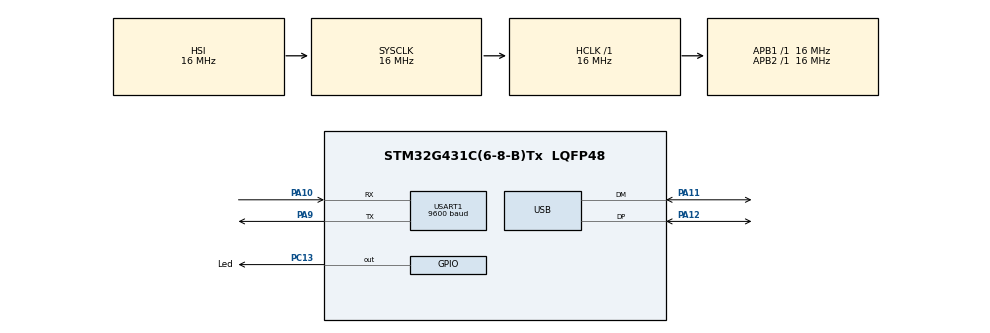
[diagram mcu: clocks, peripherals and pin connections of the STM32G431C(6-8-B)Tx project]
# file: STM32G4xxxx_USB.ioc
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Mcu.Family=STM32G4
Mcu.Name=STM32G431C(6-8-B)Tx
Mcu.Package=LQFP48
NVIC.PriorityGroup=NVIC_PRIORITYGROUP_4
NVIC.USB_LP_IRQn=true\:0\:0\:false\:false\:true\:false\:true\:true
PA10.Mode=Asynchronous
PA10.Signal=USART1_RX
PA11.Mode=Device
PA11.Signal=USB_DM
PA12.Mode=Device
PA12.Signal=USB_DP
PA9.Mode=Asynchronous
PA9.Signal=USART1_TX
PC13.GPIO_Label=Led
PC13.Signal=GPIO_Output
ProjectManager.HeapSize=0x200
ProjectManager.StackSize=0x400
ProjectManager.TargetToolchain=STM32CubeIDE
RCC.AHBFreq_Value=16000000
RCC.APB1Freq_Value=16000000
RCC.APB1TimFreq_Value=16000000
RCC.APB2Freq_Value=16000000
RCC.APB2TimFreq_Value=16000000
RCC.CK48CLockSelection=RCC_USBCLKSOURCE_HSI48
RCC.CortexFreq_Value=16000000
RCC.EXTERNAL_CLOCK_VALUE=12288000
RCC.HCLKFreq_Value=16000000
RCC.HSE_VALUE=8000000
RCC.HSI48_VALUE=48000000
RCC.HSI_VALUE=16000000
RCC.LSE_VALUE=32768
RCC.SYSCLKFreq_VALUE=16000000
RCC.USBFreq_Value=48000000
RCC.VCOOutputFreq_Value=128000000
USART1.BaudRate=9600
USART1.VirtualMode-Asynchronous=VM_ASYNC
USB_DEVICE.CLASS_NAME_FS=CDC
USB_DEVICE.VirtualMode=Cdc
USB_DEVICE.VirtualModeFS=Cdc_FS
VP_USB_DEVICE_VS_USB_DEVICE_CDC_FS.Mode=CDC_FS
board=custom

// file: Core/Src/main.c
/* USER CODE BEGIN Header */
/**
  ******************************************************************************
  * @file           : main.c
  * @brief          : Main program body
  ******************************************************************************
  * @attention
  *
  * Copyright (c) 2024 STMicroelectronics.
  * All rights reserved.
  *
  * This software is licensed under terms that can be found in the LICENSE file
  * in the root directory of this software component.
  * If no LICENSE file comes with this software, it is provided AS-IS.
  *
  ******************************************************************************
  */
/* USER CODE END Header */
#include "main.h"
#include "usb_device.h"

/* USER CODE BEGIN Includes */
#include "usbd_cdc_if.h"
/* USER CODE END Includes */

UART_HandleTypeDef huart1;

void SystemClock_Config(void);
static void MX_GPIO_Init(void);
static void MX_USART1_UART_Init(void);

int main(void)
{

  /* MCU Configuration--------------------------------------------------------*/

  /* Reset of all peripherals, Initializes the Flash interface and the Systick. */
  HAL_Init();

  /* Configure the system clock */
  SystemClock_Config();

  /* Initialize all configured peripherals */
  MX_GPIO_Init();
  MX_USB_Device_Init();
  MX_USART1_UART_Init();
  /* USER CODE BEGIN 2 */
  uint8_t txBuffer[8] = "SendDat\n";
  uint8_t rxBuffer[8] = "Receive\n";
  uint8_t last = 'S';
  /* USER CODE END 2 */

  /* Infinite loop */
  /* USER CODE BEGIN WHILE */
  while (1)
  {
	  /*HAL_GPIO_TogglePin(Led_GPIO_Port, Led_Pin);
	  HAL_UART_Transmit(&huart1, buffer, 8, 100);*/
	  //CDC_Transmit_FS(txBuffer, 8);
	  //HAL_Delay(500);
	  //CDC_Transmit_FS(rxBuffer, 8);
	  //HAL_Delay(500);

	  CDC_Receive_FS(rxBuffer, (uint32_t *)8);

	  if(rxBuffer[0] == 'o' || rxBuffer[0] == 'O'){
		  HAL_GPIO_WritePin(Led_GPIO_Port, Led_Pin, 1);
	  }
	  else if(rxBuffer[0] == 'f' || rxBuffer[0] == 'F'){
		  HAL_GPIO_WritePin(Led_GPIO_Port, Led_Pin, 0);
	  }
	  HAL_Delay(500);
	  for(uint8_t i = 0; i < 7; i++)
		  txBuffer[i] = rxBuffer[i];
	  if(txBuffer[0] != last)
		  CDC_Transmit_FS(txBuffer, 8);
	  last = txBuffer[0];
	  HAL_UART_Transmit(&huart1, txBuffer, 8, 5000);
	  HAL_Delay(500);
    /* USER CODE END WHILE */

  }
}

void SystemClock_Config(void)
{
  RCC_OscInitTypeDef RCC_OscInitStruct = {0};
  RCC_ClkInitTypeDef RCC_ClkInitStruct = {0};

  /** Configure the main internal regulator output voltage
  */
  HAL_PWREx_ControlVoltageScaling(PWR_REGULATOR_VOLTAGE_SCALE1);

  /** Initializes the RCC Oscillators according to the specified parameters
  * in the RCC_OscInitTypeDef structure.
  */
  RCC_OscInitStruct.OscillatorType = RCC_OSCILLATORTYPE_HSI|RCC_OSCILLATORTYPE_HSI48;
  RCC_OscInitStruct.HSIState = RCC_HSI_ON;
  RCC_OscInitStruct.HSICalibrationValue = RCC_HSICALIBRATION_DEFAULT;
  RCC_OscInitStruct.HSI48State = RCC_HSI48_ON;
  RCC_OscInitStruct.PLL.PLLState = RCC_PLL_NONE;
  if (HAL_RCC_OscConfig(&RCC_OscInitStruct) != HAL_OK)
  {
    Error_Handler();
  }

  /** Initializes the CPU, AHB and APB buses clocks
  */
  RCC_ClkInitStruct.ClockType = RCC_CLOCKTYPE_HCLK|RCC_CLOCKTYPE_SYSCLK
                              |RCC_CLOCKTYPE_PCLK1|RCC_CLOCKTYPE_PCLK2;
  RCC_ClkInitStruct.SYSCLKSource = RCC_SYSCLKSOURCE_HSI;
  RCC_ClkInitStruct.AHBCLKDivider = RCC_SYSCLK_DIV1;
  RCC_ClkInitStruct.APB1CLKDivider = RCC_HCLK_DIV1;
  RCC_ClkInitStruct.APB2CLKDivider = RCC_HCLK_DIV1;

  if (HAL_RCC_ClockConfig(&RCC_ClkInitStruct, FLASH_LATENCY_0) != HAL_OK)
  {
    Error_Handler();
  }
}

static void MX_USART1_UART_Init(void)
{

  huart1.Instance = USART1;
  huart1.Init.BaudRate = 9600;
  huart1.Init.WordLength = UART_WORDLENGTH_8B;
  huart1.Init.StopBits = UART_STOPBITS_1;
  huart1.Init.Parity = UART_PARITY_NONE;
  huart1.Init.Mode = UART_MODE_TX_RX;
  huart1.Init.HwFlowCtl = UART_HWCONTROL_NONE;
  huart1.Init.OverSampling = UART_OVERSAMPLING_16;
  huart1.Init.OneBitSampling = UART_ONE_BIT_SAMPLE_DISABLE;
  huart1.Init.ClockPrescaler = UART_PRESCALER_DIV1;
  huart1.AdvancedInit.AdvFeatureInit = UART_ADVFEATURE_NO_INIT;
  if (HAL_UART_Init(&huart1) != HAL_OK)
  {
    Error_Handler();
  }
  if (HAL_UARTEx_SetTxFifoThreshold(&huart1, UART_TXFIFO_THRESHOLD_1_8) != HAL_OK)
  {
    Error_Handler();
  }
  if (HAL_UARTEx_SetRxFifoThreshold(&huart1, UART_RXFIFO_THRESHOLD_1_8) != HAL_OK)
  {
    Error_Handler();
  }
  if (HAL_UARTEx_DisableFifoMode(&huart1) != HAL_OK)
  {
    Error_Handler();
  }

}

static void MX_GPIO_Init(void)
{
  GPIO_InitTypeDef GPIO_InitStruct = {0};

  /* GPIO Ports Clock Enable */
  __HAL_RCC_GPIOC_CLK_ENABLE();
  __HAL_RCC_GPIOA_CLK_ENABLE();

  /*Configure GPIO pin Output Level */
  HAL_GPIO_WritePin(Led_GPIO_Port, Led_Pin, GPIO_PIN_RESET);

  /*Configure GPIO pin : Led_Pin */
  GPIO_InitStruct.Pin = Led_Pin;
  GPIO_InitStruct.Mode = GPIO_MODE_OUTPUT_PP;
  GPIO_InitStruct.Pull = GPIO_NOPULL;
  GPIO_InitStruct.Speed = GPIO_SPEED_FREQ_LOW;
  HAL_GPIO_Init(Led_GPIO_Port, &GPIO_InitStruct);

}

void Error_Handler(void)
{
  __disable_irq();
  while (1)
  {
  }
}
